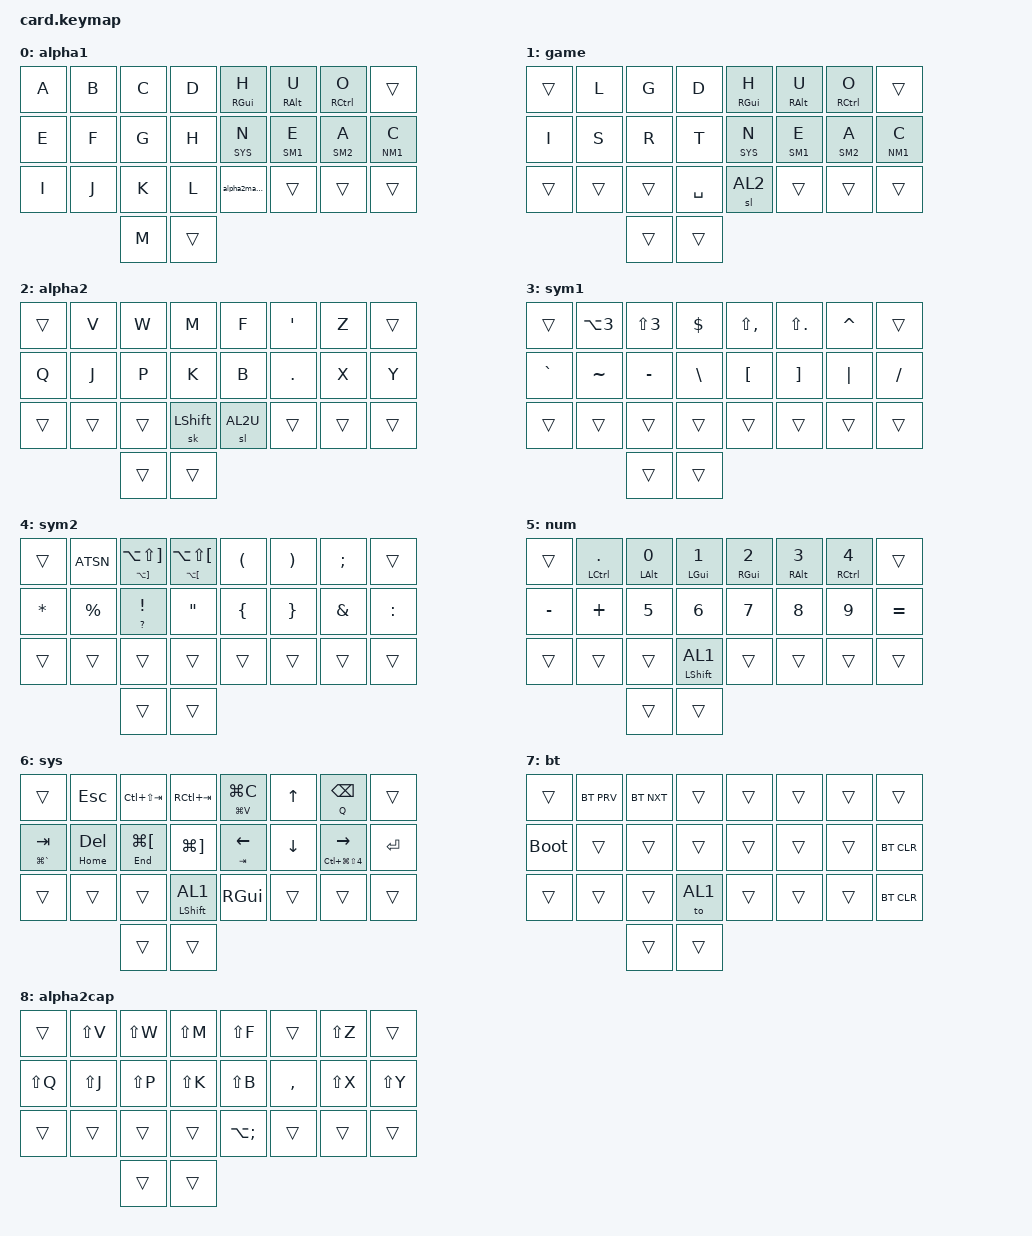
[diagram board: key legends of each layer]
/*
 * Copyright (c) 2020 The ZMK Contributors
 *
 * SPDX-License-Identifier: MIT
 */

#include <behaviors.dtsi>
#include <dt-bindings/zmk/keys.h>
#include <dt-bindings/zmk/bt.h>
#include <dt-bindings/zmk/mouse.h>



&mt {
    tapping-term-ms = <201>;
    flavor = "tap-preferred";
 };
&sk {
     release-after-ms = <2000>;
     quick-release;
 };
 
/* Layers */
#define AL1 0
#define GM 1
#define AL2 2
#define AL2U 8
#define SM1 3
#define SM2 4	
#define NM1 5	
#define SYS 6
#define BT 7	
/ { 
    combos {
        compatible = "zmk,combos";
        combo_game {
            timeout-ms = <30>;
	    key-positions = <2 3 4 5>;
            bindings = <&to GM>;
        };
        combo_sys {
            timeout-ms = <30>;
	    key-positions = <4 5 6>;
            bindings = <&to SYS>;
        };
        combo_caps {
            timeout-ms = <30>;
	    key-positions = <12 13 14>;
            bindings = <&caps_word>;
        };
        combo_bt  {
            timeout-ms = <10>;
            key-positions = <13 14>;
            bindings = <&to BT>;
	    layers = <SM1>; 
        };
        lalt {
            timeout-ms = <20>;
	    key-positions = <10 11>;
            bindings = <&kp LALT>; 
	    layers = <SYS>; 
        };
        lclk {
            timeout-ms = <20>;
	    key-positions = <12	13>;
            bindings = <&mkp LCLK>;
	    layers = <SYS>;
        };
        rclk {
            timeout-ms = <20>;
	    key-positions = <4 5>;
            bindings = <&mkp RCLK>;
	    layers = <SYS>;
        };


    };

    behaviors {
        hm: homerow_mods {
            compatible = "zmk,behavior-hold-tap";
            label = "HOMEROW_MODS";
            #binding-cells = <2>;
            tapping-term-ms = <300>;
            quick_tap_ms = <0>;
            flavor = "tap-preferred";
            bindings = <&kp>, <&kp>;
        };
        sr: shift_layer {
            compatible = "zmk,behavior-hold-tap";
            label = "SHIFT_LAYER";
            #binding-cells = <2>;
            tapping-term-ms = <300>;
            quick_tap_ms = <0>;
            flavor = "tap-preferred";
            bindings = <&kp>, <&to>;
	    retro-tap;
        };
        hl: homerow_layers {
            compatible = "zmk,behavior-hold-tap";
            label = "HOMEROW_LAYERS";
            #binding-cells = <2>;
            tapping-term-ms = <220>;
            quick_tap_ms = <0>;
            flavor = "tap-preferred";
            bindings = <&sl>, <&kp>;
        };
	td: tapdance {
            compatible = "zmk,behavior-hold-tap";
            label = "TAPDANCE";
            #binding-cells = <2>;
            tapping-term-ms = <190>;
            quick_tap_ms = <0>;
            flavor = "tap-preferred";
            bindings = <&kp>, <&kp>;
        };
	alpha2macro: behavior_macro_1 {
		compatible = "zmk,behavior-macro";
		label = "MACRO1";
		#binding-cells = <0>;
		bindings = < &sl AL2 >;
	};
    };
       keymap {
                compatible = "zmk,keymap";
                
       		alpha1 {
		bindings = <
		&kp A 		&kp B 	&kp C 	&kp D		&hm RGUI H 	&hm RALT U    		&hm RCTL O	&trans  
		&kp E &kp F	&kp G	&kp H 	 	&hl SYS N    	&hl SM1 E   		&hl SM2 A 	&hl NM1 C
		&kp I	 	&kp J 		&kp K 		&kp L 	&alpha2macro	&trans 			&trans		&trans
								&kp M	 		&trans
		>;
		};
       		game {
		bindings = <
		&trans 		&kp L 		&kp G 		&kp D			&hm RGUI H 	&hm RALT U    		&hm RCTL O	&trans  
		&kp I		&kp S		&kp R		&kp T 		 	&hl SYS N    	&hl SM1 E   		&hl SM2  A 	&hl NM1 C
		&trans	 	&trans 		&trans 		&kp SPC 		&sl AL2		&trans 			&trans		&trans
								&trans	 		&trans
		>;
		};
       		alpha2 {
		bindings = <
		&trans 	 	&kp V 		&kp W		&kp M	 	 	&kp F    	&kp SQT			&kp Z 		&trans
		&kp Q	 	&kp J 		&kp P		&kp K 			&kp B 		&kp DOT			&kp X		&kp Y 
		&trans	 	&trans 		&trans 		&sk LSHIFT 		&sl AL2U	&trans			&trans		&trans
								&trans	 		&trans
		>;
		};
		
       		sym1 {
		bindings = <
		&trans 		&kp LA(N3)   	&kp LS(N3)	&kp DLLR	    	&kp LS(COMMA)	&kp LS(DOT)		&kp CARET	&trans
		&kp GRAVE	&kp TILDE 	&kp MINUS      	&kp BSLH	 	&kp LBKT	&kp RBKT	 	&kp PIPE 	&kp SLASH
		&trans		&trans  	&trans		&trans  		&trans		&trans 			&trans  	&trans
							 	&trans		 	&trans
		>;
		};
		sym2 {
		bindings = <
		&trans		&kp ATSN	&td LA(RBKT) LA(LS(RBKT))	&td  LA(LBKT) LA(LS(LBKT))	&kp LPRN	&kp RPRN 	&kp SEMI 	&trans
		&kp STAR  	&kp PRCNT	&td QMARK EXCL       		&kp DQT   			&kp LBRC  	&kp RBRC	&kp AMPS	&kp COLON 
		&trans 		&trans 		&trans  			&trans 				&trans 		&trans 		&trans 		&trans   
						 				&trans				&trans

		>;
		};

		num {
		bindings = <
		&trans		&hm LCTL DOT 	&hm LALT N0	&hm LGUI N1 		&hm RGUI N2 	&hm RALT N3		&hm RCTL N4	&trans
		&kp MINUS	&kp PLUS 	&kp N5		&kp N6			&kp N7		&kp N8			&kp N9   	&kp EQUAL
		&trans  	&trans 		&trans		&sr LSHIFT AL1 		&trans 		&trans 			&trans  	&trans 
								&trans	 	 	&trans
		>;
		};

		sys {
		bindings = <
		&trans		 	&kp ESC			&kp LC(LS(TAB)) 	&kp RC(TAB)		&td LG(V) LG(C) 	&kp UP 		&td Q BKSP 			&trans
		&td LG(GRAVE) TAB	&td HOME DEL		&td END LG(LBKT) 	&kp LG(RBKT)		&td TAB LEFT  		&kp DOWN 	&td  LC(LG(LS(N4))) RIGHT 	&kp RET 
		&trans 			&trans 		 	&trans			&sr LSHIFT AL1 		&kp RGUI		&trans 		&trans				&trans 	   
									 		&trans	 		&trans
		>;
		};

		bt {
		bindings = <
		&trans		&bt BT_PRV	&bt BT_NXT	&trans 			&trans 	&trans	&trans	&trans
		&bootloader  	&trans 		&trans 		&trans 			&trans 	&trans 	&trans	&bt BT_CLR
		&trans 	 	&trans 		&trans		&to AL1			&trans  &trans  &trans 	&bt BT_CLR
						 		&trans			&trans
		>;
		};

       		alpha2cap {
		bindings = <
		&trans 	 	&kp LS(V)	&kp LS(W)	&kp LS(M) 	 	&kp LS(F)    	&trans		&kp LS(Z)	&trans 
		&kp LS(Q) 	&kp LS(J) 	&kp LS(P)	&kp LS(K)		&kp LS(B)	&kp COMMA	&kp LS(X)	&kp LS(Y) 
		&trans	 	&trans 		&trans 		&trans 			&kp LA(SEMI)	&trans		&trans		&trans
								&trans	 		&trans
		>;
		};
        
	};
};
